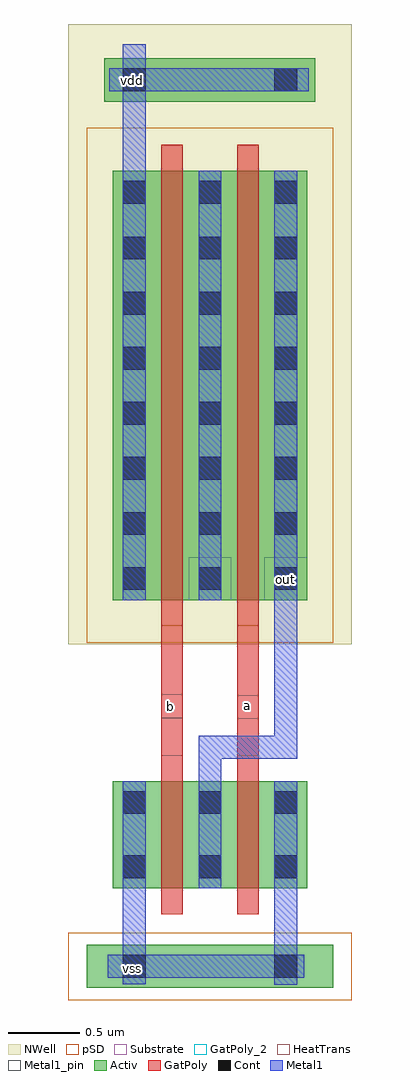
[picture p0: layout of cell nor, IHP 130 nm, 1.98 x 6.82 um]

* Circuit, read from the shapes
.subckt nor a b out vdd vss
XM1 out b vss vss sg13_lv_nmos w=0.75u l=0.15u
XM2 vss a out vss sg13_lv_nmos w=0.75u l=0.15u
XM3 n1 b vdd vdd sg13_lv_pmos w=3u l=0.15u
XM4 out a n1 vdd sg13_lv_pmos w=3u l=0.15u
.ends

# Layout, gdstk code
import gdstk
lib = gdstk.Library(unit=1e-6, precision=5e-09)
def R(c, l, rs):  # rectangles x0, y0, x1, y1
    for r in rs: c.add(gdstk.rectangle(r[:2], r[2:], *l))
def A(c, l, x, y, w, h, nx, ny, dx, dy):  # array of equal rectangles
    R(c, l, [(x+i*dx, y+j*dy, x+i*dx+w, y+j*dy+h) for i in range(nx) for j in range(ny)])
Activ = (1, 0)
GatPoly = (5, 0)
GatPoly_2 = (5, 2)
Cont = (6, 0)
Metal1 = (8, 0)
Metal1_pin = (8, 2)
pSD = (14, 0)
NWell = (31, 0)
Substrate = (40, 0)
HeatTrans = (51, 0)

nmos = lib.new_cell('nmos')
R(nmos, Activ, [(0,0,0.3,0.3), (0,0,0.83,0.75), (0.53,0,0.83,0.3)])
R(nmos, GatPoly, [(0.34,-0.18,0.49,0.93)])
R(nmos, GatPoly_2, [(0.34,-0.18,0.49,0.93)])
R(nmos, Cont, [(0.07,0.07,0.23,0.23), (0.6,0.07,0.76,0.23), (0.07,0.52,0.23,0.68), (0.6,0.52,0.76,0.68)])
R(nmos, Metal1, [(0.07,0,0.23,0.75), (0.6,0,0.76,0.75)])
R(nmos, Metal1_pin, [(0.07,0,0.23,0.75), (0.6,0,0.76,0.75)])
R(nmos, HeatTrans, [(0.34,-0.18,0.49,0.93)])
nmos.add(gdstk.Label('nmos', (0.415,0.375), layer=63, texttype=0))
nmos.add(gdstk.Label('nmos', (0.415,0.375), layer=51, texttype=0))

pmos_1 = lib.new_cell('pmos$1')
R(pmos_1, Activ, [(0,0,0.3,0.3), (0,0,0.83,3), (0.53,0,0.83,0.3)])
R(pmos_1, GatPoly, [(0.34,-0.18,0.49,3.18), (0.34,-0.18,0.49,3.18)])
A(pmos_1, Cont, 0.07, 0.07, 0.16, 0.16, 1, 7, 0, 0.385)
A(pmos_1, Cont, 0.6, 0.07, 0.16, 0.16, 1, 7, 0, 0.385)
R(pmos_1, Cont, [(0.07,2.77,0.23,2.93), (0.6,2.77,0.76,2.93)])
R(pmos_1, Metal1, [(0.07,0,0.23,3), (0.07,0,0.23,3), (0.6,0,0.76,3), (0.6,0,0.76,3)])
R(pmos_1, pSD, [(-0.18,-0.3,1.01,3.3)])
R(pmos_1, NWell, [(-0.31,-0.31,1.14,3.31)])
R(pmos_1, Substrate, [(0.53,0,0.83,0.3)])
R(pmos_1, HeatTrans, [(0.34,-0.18,0.49,3.18)])
pmos_1.add(gdstk.Label('pmos', (0.415,1.5), layer=63, texttype=0))
pmos_1.add(gdstk.Label('pmos', (0.415,1.5), layer=51, texttype=0))

nor = lib.new_cell('nor')
R(nor, Activ, [(-2.805,-2.245,-1.085,-1.945), (-2.685,3.945,-1.21,4.25)])
R(nor, GatPoly, [(-1.755,-0.625,-1.605,0.285), (-2.285,-0.62,-2.135,0.285)])
R(nor, GatPoly_2, [(-1.755,-0.365,-1.605,-0.2), (-2.285,-0.36,-2.135,-0.195)])
R(nor, Cont, [(-2.555,-2.175,-2.395,-2.015), (-1.495,-2.175,-1.335,-2.015), (-2.555,4.02,-2.395,4.18), (-1.495,4.02,-1.335,4.18)])
R(nor, Metal1, [(-1.495,-2.225,-1.335,-2.095), (-2.555,-2.22,-2.395,-2.1), (-2.66,-2.175,-2.555,-2.015), (-1.415,-2.175,-1.285,-2.015), (-2.555,3.235,-2.395,4.35), (-2.65,4.02,-1.255,4.18)])
R(nor, Metal1_pin, [(-2.555,-2.175,-2.395,-2.015), (-1.495,-2.175,-1.335,-2.015), (-1.495,0.535,-1.335,0.695), (-2.555,4.02,-2.395,4.18), (-1.495,4.02,-1.335,4.18)])
R(nor, pSD, [(-2.935,-2.33,-0.955,-1.86)])
R(nor, NWell, [(-2.935,3.775,-0.955,4.49)])
nor.add(gdstk.FlexPath([(-2.475,-1.4),(-2.475,-2.095),(-1.415,-2.095),(-1.415,-1.405),(-1.415,-1.405)], 0.16, ends="flush", simple_path=True, layer=8, datatype=0))  # Metal1
nor.add(gdstk.FlexPath([(-1.415,0.615),(-1.415,-0.565),(-1.945,-0.565),(-1.945,-0.955),(-1.945,-0.955)], 0.16, ends="flush", simple_path=True, layer=8, datatype=0))  # Metal1
nor.add(gdstk.Reference(nmos, (-2.095,-1.55)))
nor.add(gdstk.Reference(nmos, (-2.625,-1.55)))
nor.add(gdstk.Reference(pmos_1, (-2.625,0.465)))
nor.add(gdstk.Reference(pmos_1, (-2.095,0.465)))
nor.add(gdstk.Label('out', (-1.42,0.61), layer=8, texttype=2))
nor.add(gdstk.Label('vss', (-2.485,-2.11), layer=8, texttype=2))
nor.add(gdstk.Label('vdd', (-2.49,4.095), layer=8, texttype=2))
nor.add(gdstk.Label('a', (-1.685,-0.27), layer=5, texttype=2))
nor.add(gdstk.Label('b', (-2.22,-0.28), layer=5, texttype=2))

lib.write_gds('nor.gds')
